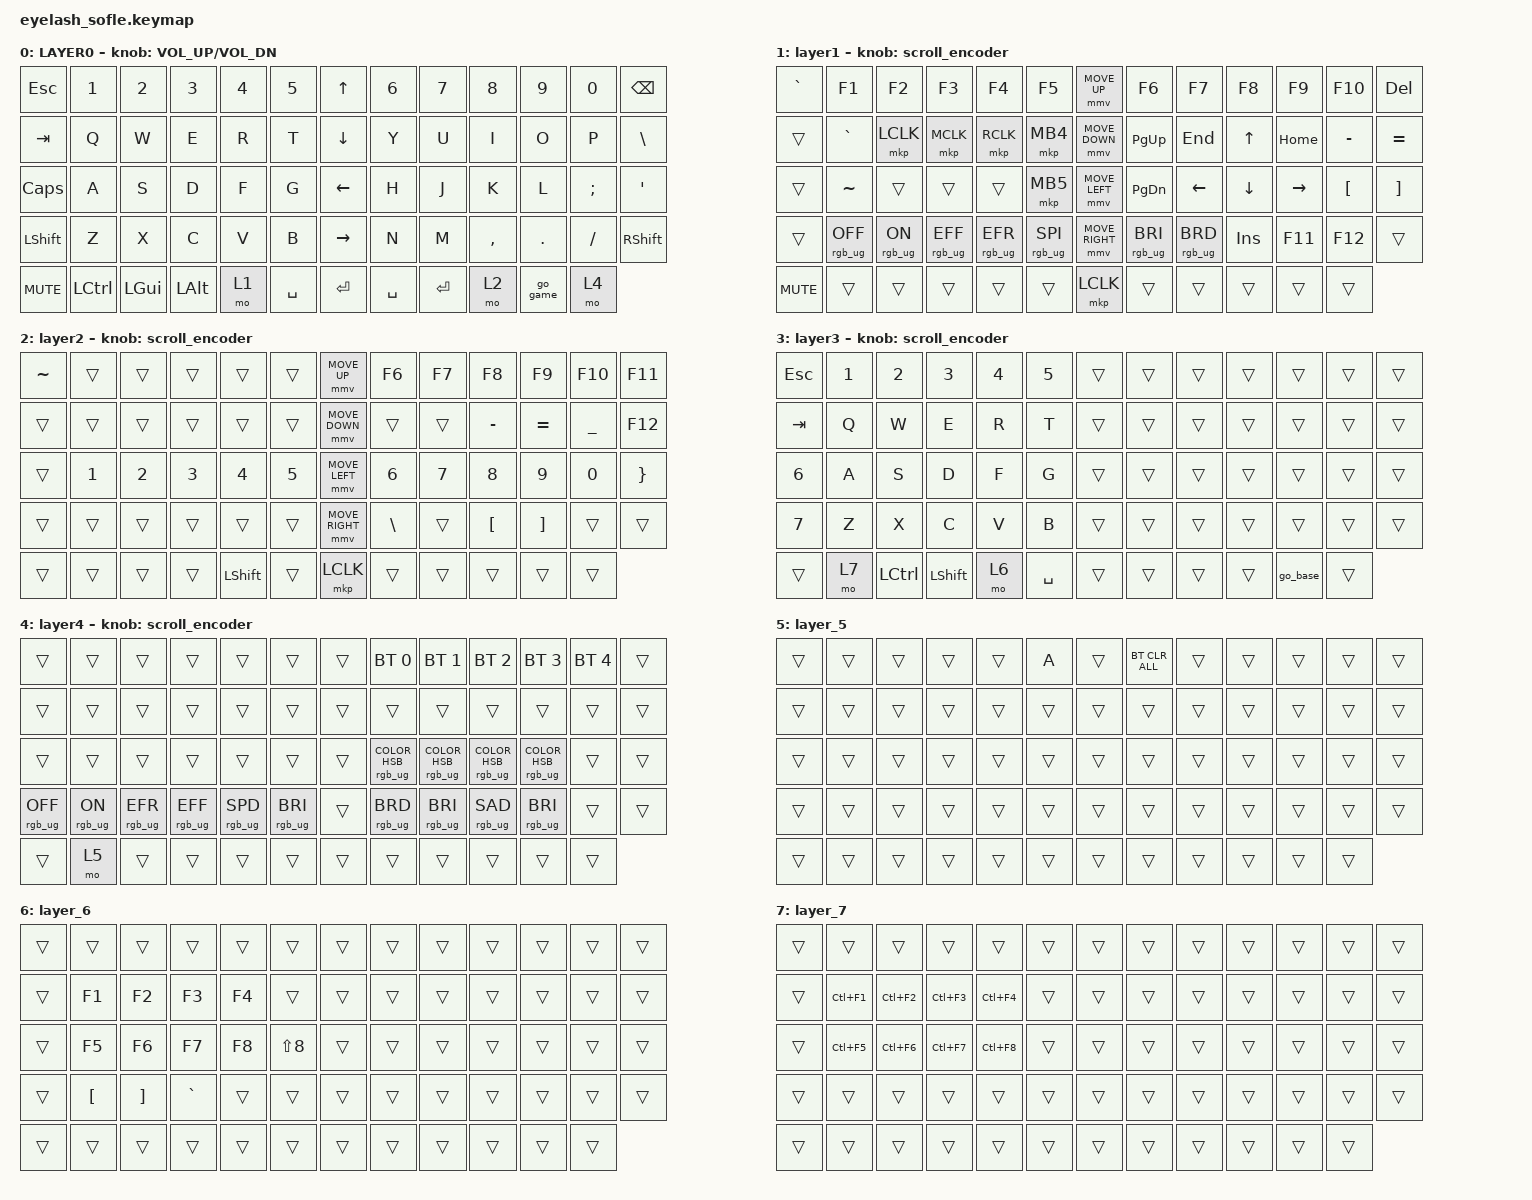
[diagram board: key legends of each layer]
#define ZMK_POINTING_DEFAULT_MOVE_VAL 1200  // 600
#define ZMK_POINTING_DEFAULT_SCRL_VAL 25   // 10

#include <input/processors.dtsi>
#include <zephyr/dt-bindings/input/input-event-codes.h>
#include <behaviors.dtsi>
#include <dt-bindings/zmk/bt.h>
#include <dt-bindings/zmk/keys.h>
#include <dt-bindings/zmk/pointing.h>
#include <dt-bindings/zmk/rgb.h>

&mmv_input_listener { input-processors = <&zip_xy_scaler 2 1>; };

&msc_input_listener { input-processors = <&zip_scroll_scaler 2 1>; };

&msc {
    acceleration-exponent = <1>;      // 0
    time-to-max-speed-ms = <100>;       // 300
    delay-ms = <0>;                   // 0
};

&mmv {
    time-to-max-speed-ms = <500>;
    acceleration-exponent = <1>;
    trigger-period-ms = <16>;
};

&soft_off { hold-time-ms = <2000>; };

/ {
    scroll_encoder: scroll_encoder {
        compatible = "zmk,behavior-sensor-rotate";
        #sensor-binding-cells = <0>;
        bindings = <&msc SCRL_DOWN>, <&msc SCRL_UP>;

        tap-ms = <100>;
    };

    behaviors {
    };

    combos { compatible = "zmk,combos"; };

    macros {
        go_game: go_game {
            compatible = "zmk,behavior-macro";
            #binding-cells = <0>;
            bindings = <&rgb_ug RGB_COLOR_HSB(0,100,50) &tog 3>;
            label = "GO_GAME";
        };

        go_base: go_base {
            compatible = "zmk,behavior-macro";
            #binding-cells = <0>;
            bindings = <&rgb_ug RGB_COLOR_HSB(192,100,51) &tog 3>;
            label = "GO_BASE";
        };
    };

    keymap {
        compatible = "zmk,keymap";

        layer0 {
            bindings = <
&kp ESC     &kp N1     &kp N2        &kp N3        &kp N4  &kp N5       &kp UP_ARROW     &kp N6     &kp N7     &kp N8     &kp N9    &kp N0    &kp BACKSPACE
&kp TAB     &kp Q      &kp W         &kp E         &kp R   &kp T        &kp DOWN_ARROW   &kp Y      &kp U      &kp I      &kp O     &kp P     &kp BSLH
&kp CAPS    &kp A      &kp S         &kp D         &kp F   &kp G        &kp LEFT_ARROW   &kp H      &kp J      &kp K      &kp L     &kp SEMI  &kp APOS
&kp LSHFT   &kp Z      &kp X         &kp C         &kp V   &kp B        &kp RIGHT_ARROW  &kp N      &kp M      &kp COMMA  &kp DOT   &kp FSLH  &kp RIGHT_SHIFT
&kp C_MUTE  &kp LCTRL  &kp LEFT_GUI  &kp LEFT_ALT  &mo 1   &kp SPACE    &kp ENTER        &kp SPACE  &kp ENTER  &mo 2      &go_game  &mo 4
            >;

            sensor-bindings = <&inc_dec_kp C_VOLUME_UP C_VOL_DN>;
            display-name = "LAYER0";
        };

        layer_1 {
            bindings = <
&kp GRAVE   &kp F1           &kp F2          &kp F3           &kp F4           &kp F5             &mmv MOVE_UP     &kp F6           &kp F7           &kp F8      &kp F9     &kp F10           &kp DEL
&trans      &kp GRAVE        &mkp LCLK       &mkp MCLK        &mkp RCLK        &mkp MB4           &mmv MOVE_DOWN   &kp PG_UP        &kp END          &kp UP      &kp HOME   &kp MINUS         &kp EQUAL
&trans      &kp TILDE        &trans          &trans           &trans           &mkp MB5           &mmv MOVE_LEFT   &kp PG_DN        &kp LEFT         &kp DOWN    &kp RIGHT  &kp LEFT_BRACKET  &kp RIGHT_BRACKET
&trans      &rgb_ug RGB_OFF  &rgb_ug RGB_ON  &rgb_ug RGB_EFF  &rgb_ug RGB_EFR  &rgb_ug RGB_SPI    &mmv MOVE_RIGHT  &rgb_ug RGB_BRI  &rgb_ug RGB_BRD  &kp INSERT  &kp F11    &kp F12           &trans
&kp C_MUTE  &trans           &trans          &trans           &trans           &trans             &mkp LCLK        &trans           &trans           &trans      &trans     &trans
            >;

            display-name = "layer1";
            sensor-bindings = <&scroll_encoder>;
        };

        layer_2 {
            bindings = <
&kp TILDE  &trans  &trans  &trans  &trans          &trans    &mmv MOVE_UP     &kp F6    &kp F7  &kp F8            &kp F9             &kp F10    &kp F11
&trans     &trans  &trans  &trans  &trans          &trans    &mmv MOVE_DOWN   &trans    &trans  &kp MINUS         &kp EQUAL          &kp UNDER  &kp F12
&trans     &kp N1  &kp N2  &kp N3  &kp N4          &kp N5    &mmv MOVE_LEFT   &kp N6    &kp N7  &kp N8            &kp N9             &kp N0     &kp RBRC
&trans     &trans  &trans  &trans  &trans          &trans    &mmv MOVE_RIGHT  &kp BSLH  &trans  &kp LEFT_BRACKET  &kp RIGHT_BRACKET  &trans     &trans
&trans     &trans  &trans  &trans  &kp LEFT_SHIFT  &trans    &mkp LCLK        &trans    &trans  &trans            &trans             &trans
            >;

            display-name = "layer2";
            sensor-bindings = <&scroll_encoder>;
        };

        layer_3 {
            bindings = <
&kp ESC       &kp N1  &kp N2     &kp N3          &kp N4  &kp N5       &trans  &trans  &trans  &trans  &trans    &trans  &trans
&kp TAB       &kp Q   &kp W      &kp E           &kp R   &kp T        &trans  &trans  &trans  &trans  &trans    &trans  &trans
&kp NUMBER_6  &kp A   &kp S      &kp D           &kp F   &kp G        &trans  &trans  &trans  &trans  &trans    &trans  &trans
&kp NUMBER_7  &kp Z   &kp X      &kp C           &kp V   &kp B        &trans  &trans  &trans  &trans  &trans    &trans  &trans
&trans        &mo 7   &kp LCTRL  &kp LEFT_SHIFT  &mo 6   &kp SPACE    &trans  &trans  &trans  &trans  &go_base  &trans
            >;

            display-name = "layer3";
            sensor-bindings = <&scroll_encoder>;
        };

        layer_4 {
            bindings = <
&trans           &trans          &trans           &trans           &trans           &trans             &trans  &bt BT_SEL 0                     &bt BT_SEL 1                       &bt BT_SEL 2                       &bt BT_SEL 3                       &bt BT_SEL 4  &trans
&trans           &trans          &trans           &trans           &trans           &trans             &trans  &trans                           &trans                             &trans                             &trans                             &trans        &trans
&trans           &trans          &trans           &trans           &trans           &trans             &trans  &rgb_ug RGB_COLOR_HSB(0,100,50)  &rgb_ug RGB_COLOR_HSB(305,100,50)  &rgb_ug RGB_COLOR_HSB(112,100,50)  &rgb_ug RGB_COLOR_HSB(251,100,50)  &trans        &trans
&rgb_ug RGB_OFF  &rgb_ug RGB_ON  &rgb_ug RGB_EFR  &rgb_ug RGB_EFF  &rgb_ug RGB_SPD  &rgb_ug RGB_BRI    &trans  &rgb_ug RGB_BRD                  &rgb_ug RGB_BRI                    &rgb_ug RGB_SAD                    &rgb_ug RGB_BRI                    &trans        &trans
&trans           &mo 5           &trans           &trans           &trans           &trans             &trans  &trans                           &trans                             &trans                             &trans                             &trans
            >;

            display-name = "layer4";
            sensor-bindings = <&scroll_encoder>;
        };

        layer_5 {
            bindings = <
&trans  &trans  &trans  &trans  &trans  &kp A     &trans  &bt BT_CLR_ALL  &trans  &trans  &trans  &trans  &trans
&trans  &trans  &trans  &trans  &trans  &trans    &trans  &trans          &trans  &trans  &trans  &trans  &trans
&trans  &trans  &trans  &trans  &trans  &trans    &trans  &trans          &trans  &trans  &trans  &trans  &trans
&trans  &trans  &trans  &trans  &trans  &trans    &trans  &trans          &trans  &trans  &trans  &trans  &trans
&trans  &trans  &trans  &trans  &trans  &trans    &trans  &trans          &trans  &trans  &trans  &trans
            >;
        };

        layer_6 {
            bindings = <
&trans  &trans    &trans    &trans     &trans  &trans              &trans  &trans  &trans  &trans  &trans  &trans  &trans
&trans  &kp F1    &kp F2    &kp F3     &kp F4  &trans              &trans  &trans  &trans  &trans  &trans  &trans  &trans
&trans  &kp F5    &kp F6    &kp F7     &kp F8  &kp LS(NUMBER_8)    &trans  &trans  &trans  &trans  &trans  &trans  &trans
&trans  &kp LBKT  &kp RBKT  &kp GRAVE  &trans  &trans              &trans  &trans  &trans  &trans  &trans  &trans  &trans
&trans  &trans    &trans    &trans     &trans  &trans              &trans  &trans  &trans  &trans  &trans  &trans
            >;
        };

        layer_7 {
            bindings = <
&trans  &trans      &trans      &trans      &trans      &trans    &trans  &trans  &trans  &trans  &trans  &trans  &trans
&trans  &kp LC(F1)  &kp LC(F2)  &kp LC(F3)  &kp LC(F4)  &trans    &trans  &trans  &trans  &trans  &trans  &trans  &trans
&trans  &kp LC(F5)  &kp LC(F6)  &kp LC(F7)  &kp LC(F8)  &trans    &trans  &trans  &trans  &trans  &trans  &trans  &trans
&trans  &trans      &trans      &trans      &trans      &trans    &trans  &trans  &trans  &trans  &trans  &trans  &trans
&trans  &trans      &trans      &trans      &trans      &trans    &trans  &trans  &trans  &trans  &trans  &trans
            >;
        };
    };
};
